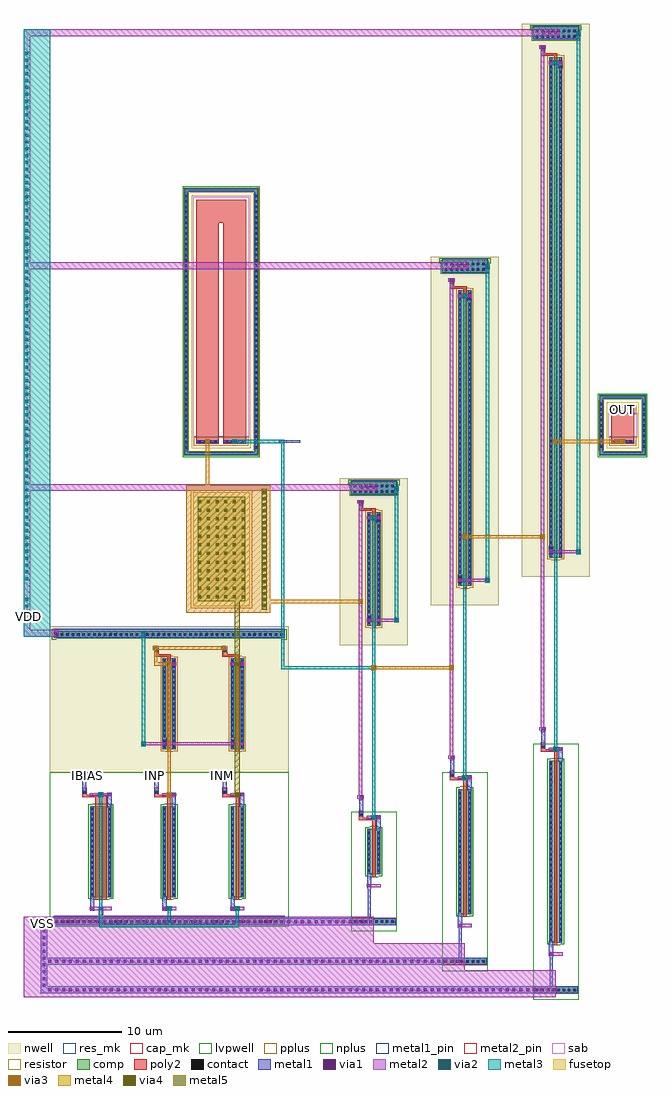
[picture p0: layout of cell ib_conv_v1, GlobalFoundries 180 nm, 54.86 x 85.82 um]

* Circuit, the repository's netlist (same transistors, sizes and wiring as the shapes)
.subckt ib_conv_v1 IBIAS INP INM OUT VDD VSS
XMNT  NS  IBIAS VSS VSS nfet_03v3 L=1u   W=8u nf=1 m=1
XMBN1 DN1 INP   NS  VSS nfet_03v3 L=0.3u W=8u nf=1 m=1
XMBN2 OC  INM   NS  VSS nfet_03v3 L=0.3u W=8u nf=1 m=1
XMBP1 DN1 DN1   VDD VDD pfet_03v3 L=0.3u W=8u nf=1 m=1
XMBP2 OC  DN1   VDD VDD pfet_03v3 L=0.3u W=8u nf=1 m=1
XMIP1 S1 G1 VDD VDD pfet_03v3 L=0.3u W=10u nf=1 m=1
XMIN1 S1 G1 VSS VSS nfet_03v3 L=0.3u W=4u  nf=1 m=1
XMIP2 S2 S1 VDD VDD pfet_03v3 L=0.3u W=26u nf=1 m=1
XMIN2 S2 S1 VSS VSS nfet_03v3 L=0.3u W=11u nf=1 m=1
XMIP3 S3 S2 VDD VDD pfet_03v3 L=0.3u W=44u nf=1 m=1
XMIN3 S3 S2 VSS VSS nfet_03v3 L=0.3u W=16u nf=1 m=1
XCC   OC G1 cap_mim_2f0_m4m5_noshield c_width=5u c_length=10u
XRFB  S1 G1 VSS ppolyf_u_1k r_width=2u r_length=40.04u
XRSER S3 OUT VSS ppolyf_u_1k r_width=2u r_length=2u
.ends ib_conv_v1

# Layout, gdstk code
import gdstk
lib = gdstk.Library(unit=1e-6, precision=1e-09)
def R(c, l, rs):  # rectangles x0, y0, x1, y1
    for r in rs: c.add(gdstk.rectangle(r[:2], r[2:], *l))
def A(c, l, x, y, w, h, nx, ny, dx, dy):  # array of equal rectangles
    R(c, l, [(x+i*dx, y+j*dy, x+i*dx+w, y+j*dy+h) for i in range(nx) for j in range(ny)])
nwell = (21, 0)
comp = (22, 0)
poly2 = (30, 0)
pplus = (31, 0)
nplus = (32, 0)
contact = (33, 0)
metal1 = (34, 0)
metal1_pin = (34, 10)
via1 = (35, 0)
metal2 = (36, 0)
metal2_pin = (36, 10)
via2 = (38, 0)
via3 = (40, 0)
via4 = (41, 0)
metal3 = (42, 0)
metal4 = (46, 0)
sab = (49, 0)
resistor = (62, 0)
fusetop = (75, 0)
metal5 = (81, 0)
res_mk = (110, 5)
cap_mk = (117, 5)
lvpwell = (204, 0)

ib_conv_v1 = lib.new_cell('ib_conv_v1')
R(ib_conv_v1, nwell, [(-4.5,7,16.5,19.8), (21,18.16,27,32.82), (29,21.66,35,52.32), (37,24.16,43,72.82)])
R(ib_conv_v1, comp, [(38.085,-12.45,41.915,-11.85), (30.085,-9.95,33.915,-9.35), (39.41,-8,40.59,8), (-4.165,-6.45,16.165,-5.85), (22.085,-6.45,25.915,-5.85), (31.41,-5.5,32.59,5.5), (-0.94,-4,0.94,4), (5.41,-4,6.59,4), (11.41,-4,12.59,4), (23.41,-2,24.59,2), (5.41,9,6.59,17), (11.41,9,12.59,17), (-4.165,18.8,16.165,19.4), (23.41,19.86,24.59,29.86), (31.41,23.36,32.59,49.36), (39.41,25.86,40.59,69.86), (21.9,31.32,26.1,32.52), (7.32,34.82,13.84,35.18), (43.82,34.82,47.94,35.18), (7.32,35.18,7.68,58.01), (13.48,35.18,13.84,58.01), (43.82,35.18,44.18,39.8), (47.58,35.18,47.94,39.8), (43.82,39.8,47.94,40.16), (29.9,50.82,34.1,52.02), (7.32,58.01,13.84,58.37), (37.9,71.32,42.1,72.52)])
R(ib_conv_v1, poly2, [(39.85,-8.22,40.15,8.78), (31.85,-5.72,32.15,6.28), (-0.5,-4.22,0.5,4.78), (5.85,-4.22,6.15,4.78), (11.85,-4.22,12.15,4.78), (23.85,-2.22,24.15,2.78), (22.69,2.78,24.15,3), (22.69,3,23.09,3.6), (-1.66,4.78,0.5,5), (4.69,4.78,6.15,5), (10.69,4.78,12.15,5), (-1.66,5,-1.26,5.6), (4.69,5,5.09,5.6), (10.69,5,11.09,5.6), (30.69,6.28,32.15,6.5), (30.69,6.5,31.09,7.1), (5.85,8.78,6.15,17.12), (11.85,8.78,12.15,17.12), (38.69,8.78,40.15,9), (38.69,9,39.09,9.6), (4.69,17.12,6.15,17.34), (10.69,17.12,12.15,17.34), (4.69,17.34,5.09,18.04), (10.69,17.34,11.09,18.04), (23.85,19.64,24.15,29.98), (31.85,23.14,32.15,49.48), (39.85,25.64,40.15,69.98), (22.69,29.98,24.15,30.2), (22.69,30.2,23.09,30.9), (8.38,35.88,10.38,55.31), (10.78,35.88,12.78,55.31), (44.88,35.88,46.88,39.1), (30.69,49.48,32.15,49.7), (30.69,49.7,31.09,50.4), (8.38,55.31,12.78,57.31), (38.69,69.98,40.15,70.2), (38.69,70.2,39.09,70.9)])
R(ib_conv_v1, pplus, [(38.075,-12.48,41.925,-12.47), (38.065,-12.47,41.935,-11.83), (38.075,-11.83,41.925,-11.82), (30.075,-9.98,33.925,-9.97), (30.065,-9.97,33.935,-9.33), (30.075,-9.33,33.925,-9.32), (-4.175,-6.48,16.175,-6.47), (22.075,-6.48,25.925,-6.47), (-4.185,-6.47,16.185,-5.83), (22.065,-6.47,25.935,-5.83), (-4.175,-5.83,16.175,-5.82), (22.075,-5.83,25.925,-5.82), (5.62,8.77,6.38,8.84), (11.62,8.77,12.38,8.84), (5.25,8.84,6.75,17.16), (11.25,8.84,12.75,17.16), (5.62,17.16,6.38,17.23), (11.62,17.16,12.38,17.23), (23.62,19.63,24.38,19.7), (23.25,19.7,24.75,30.02), (31.62,23.13,32.38,23.2), (31.25,23.2,32.75,49.52), (39.62,25.63,40.38,25.7), (39.25,25.7,40.75,70.02), (23.62,30.02,24.38,30.09), (7.3,34.8,13.86,35.2), (43.8,34.8,47.96,35.2), (7.3,35.2,7.71,35.305), (13.45,35.2,13.86,35.305), (43.8,35.2,44.21,35.305), (47.55,35.2,47.96,35.305), (7.29,35.305,7.71,57.885), (13.45,35.305,13.87,57.885), (43.79,35.305,44.21,39.675), (47.55,35.305,47.97,39.675), (8.18,35.68,12.98,36.49), (44.68,35.68,47.08,36.49), (44.68,38.49,47.08,39.3), (43.8,39.675,44.21,39.78), (47.55,39.675,47.96,39.78), (43.8,39.78,47.96,40.18), (31.62,49.52,32.38,49.59), (7.3,57.885,7.71,57.99), (13.45,57.885,13.86,57.99), (7.3,57.99,13.86,58.39), (39.62,70.02,40.38,70.09)])
R(ib_conv_v1, nplus, [(39.62,-8.23,40.38,-8.16), (39.25,-8.16,40.75,8.16), (31.62,-5.73,32.38,-5.66), (31.25,-5.66,32.75,5.66), (-0.73,-4.23,0.73,-4.16), (5.62,-4.23,6.38,-4.16), (11.62,-4.23,12.38,-4.16), (-1.1,-4.16,1.1,4.16), (5.25,-4.16,6.75,4.16), (11.25,-4.16,12.75,4.16), (23.62,-2.23,24.38,-2.16), (23.25,-2.16,24.75,2.16), (23.62,2.16,24.38,2.23), (-0.73,4.16,0.73,4.23), (5.62,4.16,6.38,4.23), (11.62,4.16,12.38,4.23), (31.62,5.66,32.38,5.73), (39.62,8.16,40.38,8.23), (-4.325,18.64,-3.91,18.77), (15.91,18.64,16.325,18.77), (-4.325,18.77,16.325,19.56), (21.88,31.3,26.12,32.23), (21.74,32.23,26.26,32.68), (29.88,50.8,34.12,51.73), (29.74,51.73,34.26,52.18), (37.88,71.3,42.12,72.23), (37.74,72.23,42.26,72.68)])
A(ib_conv_v1, contact, 38.245, -12.26, 0.22, 0.22, 8, 2, 0.47, 83.835)
A(ib_conv_v1, contact, 30.245, -9.76, 0.22, 0.22, 8, 2, 0.47, 60.835)
A(ib_conv_v1, contact, 39.48, -7.865, 0.22, 0.22, 1, 34, 0, 0.47)
A(ib_conv_v1, contact, 40.3, -7.865, 0.22, 0.22, 1, 34, 0, 0.47)
A(ib_conv_v1, contact, -3.98, -6.26, 0.22, 0.22, 43, 2, 0.47, 25.25)
A(ib_conv_v1, contact, 22.245, -6.26, 0.22, 0.22, 8, 2, 0.47, 37.835)
A(ib_conv_v1, contact, 31.48, -5.28, 0.22, 0.22, 1, 23, 0, 0.47)
A(ib_conv_v1, contact, 32.3, -5.28, 0.22, 0.22, 1, 23, 0, 0.47)
A(ib_conv_v1, contact, -0.87, -3.87, 0.22, 0.22, 1, 17, 0, 0.47)
A(ib_conv_v1, contact, 0.65, -3.87, 0.22, 0.22, 1, 17, 0, 0.47)
A(ib_conv_v1, contact, 5.48, -3.87, 0.22, 0.22, 1, 17, 0, 0.47)
A(ib_conv_v1, contact, 6.3, -3.87, 0.22, 0.22, 1, 17, 0, 0.47)
A(ib_conv_v1, contact, 11.48, -3.87, 0.22, 0.22, 1, 17, 0, 0.47)
A(ib_conv_v1, contact, 12.3, -3.87, 0.22, 0.22, 1, 17, 0, 0.47)
A(ib_conv_v1, contact, 23.48, -1.755, 0.22, 0.22, 1, 8, 0, 0.47)
A(ib_conv_v1, contact, 24.3, -1.755, 0.22, 0.22, 1, 8, 0, 0.47)
A(ib_conv_v1, contact, 5.48, 9.13, 0.22, 0.22, 1, 17, 0, 0.47)
A(ib_conv_v1, contact, 6.3, 9.13, 0.22, 0.22, 1, 17, 0, 0.47)
A(ib_conv_v1, contact, 11.48, 9.13, 0.22, 0.22, 1, 17, 0, 0.47)
A(ib_conv_v1, contact, 12.3, 9.13, 0.22, 0.22, 1, 17, 0, 0.47)
A(ib_conv_v1, contact, 23.48, 20.05, 0.22, 0.22, 1, 21, 0, 0.47)
A(ib_conv_v1, contact, 24.3, 20.05, 0.22, 0.22, 1, 21, 0, 0.47)
A(ib_conv_v1, contact, 31.48, 23.56, 0.22, 0.22, 1, 55, 0, 0.47)
A(ib_conv_v1, contact, 32.3, 23.56, 0.22, 0.22, 1, 55, 0, 0.47)
A(ib_conv_v1, contact, 39.48, 26.13, 0.22, 0.22, 1, 93, 0, 0.47)
A(ib_conv_v1, contact, 40.3, 26.13, 0.22, 0.22, 1, 93, 0, 0.47)
A(ib_conv_v1, contact, 22.245, 32.045, 0.22, 0.22, 8, 1, 0.47, 0)
A(ib_conv_v1, contact, 7.39, 35.44, 0.22, 0.22, 1, 48, 0, 0.47)
A(ib_conv_v1, contact, 13.55, 35.44, 0.22, 0.22, 1, 48, 0, 0.47)
A(ib_conv_v1, contact, 43.89, 35.5, 0.22, 0.22, 1, 9, 0, 0.47)
A(ib_conv_v1, contact, 47.65, 35.5, 0.22, 0.22, 1, 9, 0, 0.47)
A(ib_conv_v1, contact, 8.565, 35.95, 0.22, 0.22, 4, 1, 0.47, 0)
A(ib_conv_v1, contact, 10.965, 35.95, 0.22, 0.22, 4, 1, 0.47, 0)
A(ib_conv_v1, contact, 45.065, 35.95, 0.22, 0.22, 4, 2, 0.47, 2.86)
A(ib_conv_v1, contact, 30.245, 51.545, 0.22, 0.22, 8, 1, 0.47, 0)
A(ib_conv_v1, contact, 38.245, 72.045, 0.22, 0.22, 8, 1, 0.47, 0)
R(ib_conv_v1, contact, [(22.78,3.105,23,3.325), (-1.57,5.105,-1.35,5.325), (4.78,5.105,5,5.325), (10.78,5.105,11,5.325), (30.78,6.605,31,6.825), (38.78,9.105,39,9.325), (4.78,17.565,5,17.785), (10.78,17.565,11,17.785), (22.78,30.425,23,30.645), (30.78,49.925,31,50.145), (38.78,70.425,39,70.645)])
R(ib_conv_v1, metal1, [(-5.3,-12.45,41.915,-11.85), (-5.3,-11.85,-4.7,-9.95), (39.45,-11.85,39.73,-9.2), (-5.3,-9.95,33.915,-9.35), (-5.3,-9.35,-4.7,-6.45), (31.45,-9.35,31.73,-6.7), (39.4,-9.2,39.78,-7.9), (40.295,-7.99,40.525,7.9), (39.475,-7.9,39.705,7.99), (31.4,-6.7,31.78,-5.4), (-5.3,-6.45,25.915,-5.85), (-4.165,-5.85,16.165,-5.65), (23.45,-5.85,23.73,-3.2), (-0.2,-5.65,0.2,-4.86), (32.295,-5.49,32.525,5.4), (31.475,-5.4,31.705,5.49), (-0.95,-5.2,-0.57,-3.9), (5.4,-5.2,5.78,-3.9), (11.4,-5.2,11.78,-3.9), (0.645,-3.99,0.875,3.9), (6.295,-3.99,6.525,3.9), (12.295,-3.99,12.525,3.9), (-0.875,-3.9,-0.645,3.99), (5.475,-3.9,5.705,3.99), (11.475,-3.9,11.705,3.99), (23.4,-3.2,23.78,-1.9), (24.295,-1.99,24.525,1.9), (23.475,-1.9,23.705,1.99), (24.22,1.9,24.6,3.2), (22.7,3.1,23.08,4.94), (0.57,3.9,0.95,5.2), (6.22,3.9,6.6,5.2), (12.22,3.9,12.6,5.2), (-1.65,5.1,-1.27,6.94), (4.7,5.1,5.08,6.94), (10.7,5.1,11.08,6.94), (32.22,5.4,32.6,6.7), (30.7,6.6,31.08,8.44), (40.22,7.9,40.6,9.2), (5.475,9.01,5.705,9.3), (6.295,9.01,6.525,16), (11.475,9.01,11.705,9.3), (12.295,9.01,12.525,16), (38.7,9.1,39.08,10.94), (5.4,9.3,5.78,10), (11.4,9.3,11.78,10), (5.475,10,5.705,16.99), (11.475,10,11.705,16.99), (6.22,16,6.6,16.7), (12.22,16,12.6,16.7), (6.295,16.7,6.525,16.99), (12.295,16.7,12.525,16.99), (4.7,17.56,5.08,18.04), (10.7,17.56,11.08,18.04), (-4.165,18.8,16.165,19.6), (23.475,19.87,23.705,20.16), (24.295,19.87,24.525,28.86), (23.4,20.16,23.78,20.86), (23.475,20.86,23.705,29.85), (31.475,23.37,31.705,23.66), (32.295,23.37,32.525,48.36), (31.4,23.66,31.78,24.36), (31.475,24.36,31.705,49.35), (39.475,25.87,39.705,26.16), (40.295,25.87,40.525,68.86), (39.4,26.16,39.78,26.86), (39.475,26.86,39.705,69.85), (24.22,28.86,24.6,29.56), (24.295,29.56,24.525,29.85), (22.7,30.42,23.08,30.9), (22,31.42,26,31.71), (22,31.71,26.21,32.13), (22,32.13,26,32.62), (7.385,34.885,13.775,35.115), (43.885,34.885,47.875,35.115), (7.385,35.115,7.615,58.075), (13.545,35.115,13.775,58.075), (43.885,35.115,44.115,39.865), (47.645,35.115,47.875,39.865), (9.17,35.85,9.59,35.945), (11.57,35.85,11.99,35.945), (45.67,35.85,46.09,35.945), (8.39,35.945,10.37,36.175), (10.79,35.945,12.77,36.175), (15.645,35.945,17.515,36.175), (44.89,35.945,46.87,36.175), (9.17,36.175,9.59,36.27), (11.57,36.175,11.99,36.27), (45.67,36.175,46.09,36.27), (44.89,38.805,46.87,39.035), (43.885,39.865,47.875,40.095), (32.22,48.36,32.6,49.06), (32.295,49.06,32.525,49.35), (30.7,49.92,31.08,50.4), (30,50.92,34,51.21), (30,51.21,34.21,51.63), (30,51.63,34,52.12), (7.385,58.075,13.775,58.305), (40.22,68.86,40.6,69.56), (40.295,69.56,40.525,69.85), (38.7,70.42,39.08,70.9), (38,71.42,42,71.71), (38,71.71,42.21,72.13), (38,72.13,42,72.62)])
R(ib_conv_v1, metal1_pin, [(-5.3,-6.5,-5.02,-6.22), (45.74,38.805,46.02,39.035)])
A(ib_conv_v1, via1, -4.61, -12.28, 0.26, 0.26, 75, 1, 0.6, 0)
A(ib_conv_v1, via1, -5.13, -11.89, 0.26, 0.26, 1, 9, 0, 0.6)
A(ib_conv_v1, via1, -4.61, -9.78, 0.26, 0.26, 61, 1, 0.6, 0)
A(ib_conv_v1, via1, -4.61, -6.28, 0.26, 0.26, 48, 1, 0.6, 0)
A(ib_conv_v1, via1, 22.83, 31.89, 0.26, 0.26, 3, 1, 0.52, 0)
A(ib_conv_v1, via1, 30.83, 51.39, 0.26, 0.26, 3, 1, 0.52, 0)
A(ib_conv_v1, via1, 38.83, 71.89, 0.26, 0.26, 3, 1, 0.52, 0)
R(ib_conv_v1, via1, [(39.46,-9.13,39.72,-8.87), (31.46,-6.63,31.72,-6.37), (-0.89,-5.13,-0.63,-4.87), (-0.13,-5.13,0.13,-4.87), (5.46,-5.13,5.72,-4.87), (11.46,-5.13,11.72,-4.87), (23.46,-3.13,23.72,-2.87), (24.28,2.87,24.54,3.13), (22.76,4.67,23.02,4.93), (0.63,4.87,0.89,5.13), (6.28,4.87,6.54,5.13), (12.28,4.87,12.54,5.13), (32.28,6.37,32.54,6.63), (-1.59,6.67,-1.33,6.93), (4.76,6.67,5.02,6.93), (10.76,6.67,11.02,6.93), (30.76,8.17,31.02,8.43), (40.28,8.87,40.54,9.13), (5.46,9.37,5.72,9.63), (11.46,9.37,11.72,9.63), (38.76,10.67,39.02,10.93), (6.28,16.37,6.54,16.63), (12.28,16.37,12.54,16.63), (4.76,17.77,5.02,18.03), (10.76,17.77,11.02,18.03), (3.62,18.97,3.88,19.23), (-4.13,19.07,-3.87,19.33), (23.46,20.23,23.72,20.49), (31.46,23.73,31.72,23.99), (39.46,26.23,39.72,26.49), (24.28,29.23,24.54,29.49), (22.76,30.63,23.02,30.89), (25.87,31.79,26.13,32.05), (9.25,35.93,9.51,36.19), (11.65,35.93,11.91,36.19), (45.75,35.93,46.01,36.19), (32.28,48.73,32.54,48.99), (30.76,50.13,31.02,50.39), (33.87,51.29,34.13,51.55), (40.28,69.23,40.54,69.49), (38.76,70.63,39.02,70.89), (41.87,71.79,42.13,72.05)])
R(ib_conv_v1, metal2, [(-6.8,-12.79,40,-12.35), (-6.8,-12.35,40.12,-11.95), (-6.8,-11.95,40,-10.43), (-6.8,-10.43,32,-8.07), (39.39,-9.14,40.61,-8.86), (-6.8,-8.07,24,-5.71), (31.39,-6.64,32.61,-6.36), (5.79,-5.21,6.21,-5.14), (11.79,-5.21,12.21,-5.14), (-0.96,-5.14,0.96,-4.86), (5.39,-5.14,6.61,-4.86), (11.39,-5.14,12.61,-4.86), (5.79,-4.86,6.21,-4.79), (11.79,-4.86,12.21,-4.79), (23.39,-3.14,24.61,-2.86), (23.79,2.79,24.21,2.86), (23.39,2.86,24.61,3.14), (23.79,3.14,24.21,3.21), (22.685,4.52,22.965,4.66), (22.54,4.66,23.11,4.94), (-0.21,4.79,0.21,4.86), (11.79,4.79,12.21,4.86), (-0.96,4.86,0.96,5.14), (5.39,4.86,6.61,5.14), (11.39,4.86,12.61,5.14), (22.685,4.94,22.965,30.62), (-0.21,5.14,0.21,5.21), (11.79,5.14,12.21,5.21), (31.79,6.29,32.21,6.36), (31.39,6.36,32.61,6.64), (31.79,6.64,32.21,6.71), (-1.81,6.66,-0.54,6.94), (4.54,6.66,5.11,6.94), (10.54,6.66,11.11,6.94), (30.685,8.02,30.965,8.16), (30.54,8.16,31.11,8.44), (30.685,8.44,30.965,50.12), (39.79,8.79,40.21,8.86), (39.39,8.86,40.61,9.14), (39.79,9.14,40.21,9.21), (3.54,9.29,3.96,9.36), (3.54,9.36,12.61,9.64), (3.54,9.64,3.96,9.71), (38.685,10.52,38.965,10.66), (38.54,10.66,39.11,10.94), (38.685,10.94,38.965,70.62), (11.79,16.29,12.21,16.36), (5.39,16.36,6.61,16.64), (11.39,16.36,12.61,16.64), (11.79,16.64,12.21,16.71), (4.54,17.76,5.11,18.04), (10.54,17.76,11.11,18.04), (3.54,18.89,3.96,19.31), (-6.8,18.9,-3.7,19.5), (-6.8,19.5,-6.2,31.72), (25.79,20.15,26.21,20.22), (23.39,20.22,26.21,20.5), (25.79,20.5,26.21,20.57), (33.79,23.65,34.21,23.72), (31.39,23.72,34.21,24), (33.79,24,34.21,24.07), (41.79,26.15,42.21,26.22), (39.39,26.22,42.21,26.5), (41.79,26.5,42.21,26.57), (23.79,29.15,24.21,29.22), (23.39,29.22,24.61,29.5), (23.79,29.5,24.21,29.57), (22.54,30.62,23.11,30.9), (25.79,31.71,26.21,32.13), (-6.8,31.72,24.3,32.32), (-6.8,32.32,-6.2,51.22), (9.17,35.85,9.59,36.27), (11.57,35.85,11.99,36.27), (45.67,35.85,46.09,36.27), (31.79,48.65,32.21,48.72), (31.39,48.72,32.61,49), (31.79,49,32.21,49.07), (30.54,50.12,31.11,50.4), (33.79,51.21,34.21,51.63), (-6.8,51.22,32.3,51.82), (-6.8,51.82,-6.2,71.72), (39.79,69.15,40.21,69.22), (39.39,69.22,40.61,69.5), (39.79,69.5,40.21,69.57), (38.54,70.62,39.11,70.9), (41.79,71.71,42.21,72.13), (-6.8,71.72,40.3,72.32)])
R(ib_conv_v1, metal2_pin, [(-1.3,6.66,-1.05,6.8), (4.7,6.66,4.76,6.8), (10.7,6.66,10.76,6.8), (-6.5,20.5,-6.22,20.78)])
A(ib_conv_v1, via2, -0.13, 4.87, 0.26, 0.26, 3, 1, 6, 0)
A(ib_conv_v1, via2, -6.63, 23.87, 0.26, 0.26, 1, 78, 0, 0.6)
R(ib_conv_v1, via2, [(5.87,-5.13,6.13,-4.87), (11.87,-5.13,12.13,-4.87), (23.87,2.87,24.13,3.13), (31.87,6.37,32.13,6.63), (39.87,8.87,40.13,9.13), (3.62,9.37,3.88,9.63), (30.695,16.05,30.955,16.31), (5.87,16.37,6.13,16.63), (11.87,16.37,12.13,16.63), (4.695,17.77,4.955,18.03), (10.695,17.77,10.955,18.03), (3.62,18.97,3.88,19.23), (25.87,20.23,26.13,20.49), (-6.63,21.47,-6.37,21.73), (22.695,21.87,22.955,22.13), (-6.63,22.07,-6.37,22.33), (33.87,23.73,34.13,23.99), (41.87,26.23,42.13,26.49), (38.695,27.55,38.955,27.81), (23.87,29.23,24.13,29.49), (25.87,31.79,26.13,32.05), (9.25,35.93,9.51,36.19), (11.65,35.93,11.91,36.19), (45.75,35.93,46.01,36.19), (31.87,48.73,32.13,48.99), (33.87,51.29,34.13,51.55), (39.87,69.23,40.13,69.49), (41.87,71.79,42.13,72.05)])
R(ib_conv_v1, via3, [(5.87,4.87,6.13,5.13), (11.87,4.87,12.13,5.13), (23.87,16.05,24.13,16.31), (30.695,16.05,30.955,16.31), (5.87,16.37,6.13,16.63), (11.87,16.37,12.13,16.63), (4.695,17.77,4.955,18.03), (10.695,17.77,10.955,18.03), (22.695,21.87,22.955,22.13), (31.87,27.55,32.13,27.81), (38.695,27.55,38.955,27.81), (9.25,35.93,9.51,36.19), (39.87,35.93,40.13,36.19), (45.75,35.93,46.01,36.19)])
A(ib_conv_v1, via4, 14.24, 21.53, 0.26, 0.26, 1, 20, 0, 0.52)
A(ib_conv_v1, via4, 8.57, 22.29, 0.26, 0.26, 6, 12, 0.76, 0.76)
R(ib_conv_v1, via4, [(11.87,4.87,12.13,5.13), (11.87,16.37,12.13,16.63)])
A(ib_conv_v1, metal3, -0.21, 4.79, 0.42, 0.42, 3, 1, 6, 0)
A(ib_conv_v1, metal3, 31.79, 6.29, 0.42, 0.42, 1, 3, 0, 21.18)
R(ib_conv_v1, metal3, [(-0.14,-6.64,12.14,-6.36), (-0.14,-6.36,0.14,4.79), (5.86,-6.36,6.14,-5.21), (11.86,-6.36,12.14,-5.21), (5.79,-5.21,6.21,-4.79), (11.79,-5.21,12.21,-4.79), (23.79,2.79,24.21,3.21), (23.86,3.21,24.14,15.97), (31.86,6.71,32.14,27.47), (39.79,8.79,40.21,9.21), (39.86,9.21,40.14,35.85), (3.54,9.29,3.96,9.71), (3.61,9.71,3.89,18.89), (23.79,15.97,24.21,16.04), (30.615,15.97,31.035,16.39), (15.86,16.04,24.21,16.32), (5.79,16.29,6.21,16.71), (11.79,16.29,12.21,16.71), (15.86,16.32,16.14,35.92), (23.79,16.32,24.21,16.39), (23.86,16.39,24.14,29.15), (4.615,17.69,5.035,18.11), (10.615,17.69,11.035,18.11), (3.54,18.89,3.96,19.31), (-6.8,18.9,-4.44,72.32), (25.79,20.15,26.21,20.57), (25.86,20.57,26.14,31.71), (22.615,21.79,23.035,22.21), (33.79,23.65,34.21,24.07), (33.86,24.07,34.14,51.21), (41.79,26.15,42.21,26.57), (41.86,26.57,42.14,71.71), (38.615,27.47,39.035,27.89), (31.86,27.89,32.14,48.65), (23.79,29.15,24.21,29.57), (25.79,31.71,26.21,32.13), (9.17,35.85,9.59,36.27), (11.57,35.85,11.99,35.92), (39.79,35.85,40.21,36.27), (45.67,35.85,46.09,36.27), (11.57,35.92,16.14,36.2), (11.57,36.2,11.99,36.27), (39.86,36.27,40.14,69.15), (33.79,51.21,34.21,51.63), (39.79,69.15,40.21,69.57), (41.79,71.71,42.21,72.13)])
R(ib_conv_v1, metal4, [(5.79,4.79,6.21,5.21), (11.79,4.79,12.21,5.21), (5.86,5.21,6.14,16.29), (23.79,15.97,24.21,16.04), (30.615,15.97,31.035,16.04), (23.79,16.04,31.035,16.32), (5.79,16.29,6.21,16.36), (11.79,16.29,12.21,16.71), (23.79,16.32,24.21,16.39), (30.615,16.32,31.035,16.39), (4.685,16.36,6.21,16.64), (4.685,16.64,4.965,17.69), (5.79,16.64,6.21,16.71), (4.615,17.69,5.035,17.76), (10.615,17.69,11.035,17.76), (4.615,17.76,11.035,18.04), (4.615,18.04,5.035,18.11), (10.615,18.04,11.035,18.11), (7.5,21,14.9,21.86), (22.615,21.79,23.035,21.86), (7.5,21.86,23.035,22.14), (7.5,22.14,14.9,32.2), (22.615,22.14,23.035,22.21), (31.79,27.47,32.21,27.54), (38.615,27.47,39.035,27.54), (31.79,27.54,39.035,27.82), (31.79,27.82,32.21,27.89), (38.615,27.82,39.035,27.89), (9.24,32.2,9.52,35.85), (9.17,35.85,9.59,36.27), (39.79,35.85,40.21,35.92), (45.67,35.85,46.09,35.92), (39.79,35.92,46.09,36.2), (39.79,36.2,40.21,36.27), (45.67,36.2,46.09,36.27)])
R(ib_conv_v1, sab, [(8.1,36.39,13.06,57.59), (44.6,36.39,47.16,38.59), (8.1,36.49,13.06,57.59), (44.6,36.49,47.16,38.49)])
R(ib_conv_v1, resistor, [(7.98,35.48,13.18,57.71), (44.48,35.48,47.28,39.5)])
R(ib_conv_v1, fusetop, [(8.1,21.6,13.1,31.6)])
R(ib_conv_v1, metal5, [(11.78,4.78,12.22,22), (14.15,21.285,14.59,31.915), (8.5,22,12.7,31.2)])
R(ib_conv_v1, res_mk, [(8.1,36.49,13.06,57.59), (8.38,36.49,10.38,55.31), (10.78,36.49,12.78,55.31), (44.6,36.49,47.16,38.49), (44.88,36.49,46.88,38.49), (8.38,55.31,12.78,57.31)])
R(ib_conv_v1, cap_mk, [(7.9,21.4,13.3,31.8)])
R(ib_conv_v1, lvpwell, [(38,-13,42,9.5), (30,-10.5,34,7), (22,-7,26,3.5), (-4.5,-6.6,16.5,7), (7.2,34.7,13.96,58.49), (43.7,34.7,48.06,40.28)])
ib_conv_v1.add(gdstk.Label('IBIAS', (-1.175,6.73), layer=36, texttype=10))
ib_conv_v1.add(gdstk.Label('INP', (4.73,6.73), layer=36, texttype=10))
ib_conv_v1.add(gdstk.Label('INM', (10.73,6.73), layer=36, texttype=10))
ib_conv_v1.add(gdstk.Label('OUT', (45.88,38.92), layer=34, texttype=10))
ib_conv_v1.add(gdstk.Label('VDD', (-6.36,20.64), layer=36, texttype=10))
ib_conv_v1.add(gdstk.Label('VSS', (-5.16,-6.36), layer=34, texttype=10))

lib.write_gds('ib_conv_v1.gds')
